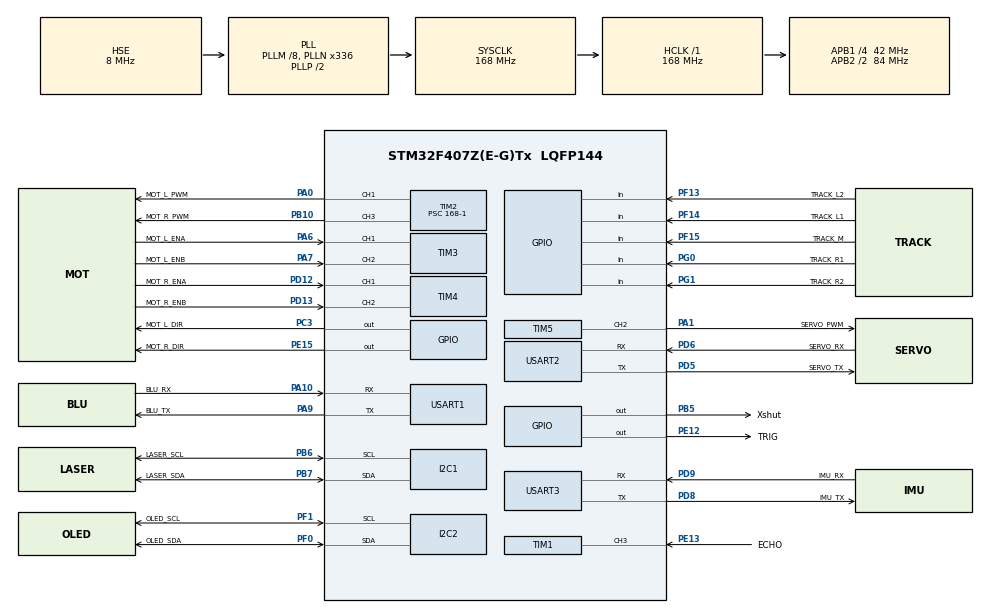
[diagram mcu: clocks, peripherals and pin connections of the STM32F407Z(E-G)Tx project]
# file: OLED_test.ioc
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FREERTOS.Tasks01=defaultTask,8,128,StartDefaultTask,Default,NULL,Dynamic,NULL,NULL;Servo_USART,40,256,ServoControlTask,As weak,NULL,Dynamic,NULL,NULL;Rx_Task,16,512,BT_Comm_Task,As weak,NULL,Dynamic,NULL,NULL;PTZ,24,512,PTZ_TASK,As weak,NULL,Dynamic,NULL,NULL;OLED,16,1024,MotorIMU_Monitor_Task,As weak,NULL,Dynamic,NULL,NULL
FREERTOS.configTOTAL_HEAP_SIZE=0x8000
I2C1.I2C_Mode=I2C_Fast
I2C2.I2C_Mode=I2C_Fast
Mcu.Family=STM32F4
Mcu.Name=STM32F407Z(E-G)Tx
Mcu.Package=LQFP144
NVIC.PriorityGroup=NVIC_PRIORITYGROUP_4
NVIC.TIM1_CC_IRQn=true\:5\:0\:false\:false\:true\:true\:true\:true\:true
NVIC.TIM7_IRQn=true\:15\:0\:false\:false\:true\:false\:false\:true\:true
NVIC.TimeBase=TIM7_IRQn
NVIC.TimeBaseIP=TIM7
NVIC.USART3_IRQn=true\:5\:0\:false\:false\:true\:true\:true\:true\:true
PA0-WKUP.GPIO_Label=MOT_L_PWM
PA0-WKUP.Signal=S_TIM2_CH1_ETR
PA1.GPIO_Label=SERVO_PWM
PA1.Signal=S_TIM5_CH2
PA10.GPIO_Label=BLU_RX
PA10.Mode=Asynchronous
PA10.Signal=USART1_RX
PA13.Mode=Serial_Wire
PA13.Signal=SYS_JTMS-SWDIO
PA14.Mode=Serial_Wire
PA14.Signal=SYS_JTCK-SWCLK
PA6.GPIO_Label=MOT_L_ENA
PA6.Signal=S_TIM3_CH1
PA7.GPIO_Label=MOT_L_ENB
PA7.Signal=S_TIM3_CH2
PA9.GPIO_Label=BLU_TX
PA9.Mode=Asynchronous
PA9.Signal=USART1_TX
PB10.GPIO_Label=MOT_R_PWM
PB10.Signal=S_TIM2_CH3
PB5.GPIO_Label=Xshut
PB5.Signal=GPIO_Output
PB6.GPIO_Label=LASER_SCL
PB6.Mode=I2C
PB6.Signal=I2C1_SCL
PB7.GPIO_Label=LASER_SDA
PB7.Mode=I2C
PB7.Signal=I2C1_SDA
PC3.GPIO_Label=MOT_L_DIR
PC3.Signal=GPIO_Output
PD12.GPIO_Label=MOT_R_ENA
PD12.Signal=S_TIM4_CH1
PD13.GPIO_Label=MOT_R_ENB
PD13.Signal=S_TIM4_CH2
PD5.GPIO_Label=SERVO_TX
PD5.Mode=Asynchronous
PD5.Signal=USART2_TX
PD6.GPIO_Label=SERVO_RX
PD6.Mode=Asynchronous
PD6.Signal=USART2_RX
PD8.GPIO_Label=IMU_TX
PD8.Mode=Asynchronous
PD8.Signal=USART3_TX
PD9.GPIO_Label=IMU_RX
PD9.Mode=Asynchronous
PD9.Signal=USART3_RX
PE12.GPIO_Label=TRIG
PE12.GPIO_Speed=GPIO_SPEED_FREQ_HIGH
PE12.Signal=GPIO_Output
PE13.GPIO_Label=ECHO
PE13.Signal=S_TIM1_CH3
PE15.GPIO_Label=MOT_R_DIR
PE15.Signal=GPIO_Output
PF0.GPIO_Label=OLED_SDA
PF0.Mode=I2C
PF0.Signal=I2C2_SDA
PF1.GPIO_Label=OLED_SCL
PF1.Mode=I2C
PF1.Signal=I2C2_SCL
PF13.GPIO_Label=TRACK_L2
PF13.Signal=GPIO_Input
PF14.GPIO_Label=TRACK_L1
PF14.Signal=GPIO_Input
PF15.GPIO_Label=TRACK_M
PF15.Signal=GPIO_Input
PG0.GPIO_Label=TRACK_R1
PG0.Signal=GPIO_Input
PG1.GPIO_Label=TRACK_R2
PG1.Signal=GPIO_Input
PH0-OSC_IN.Mode=HSE-External-Oscillator
PH0-OSC_IN.Signal=RCC_OSC_IN
PH1-OSC_OUT.Mode=HSE-External-Oscillator
PH1-OSC_OUT.Signal=RCC_OSC_OUT
ProjectManager.HeapSize=0x200
ProjectManager.StackSize=0x400
ProjectManager.TargetToolchain=MDK-ARM V5.32
RCC.48MHZClocksFreq_Value=84000000
RCC.AHBFreq_Value=168000000
RCC.APB1CLKDivider=RCC_HCLK_DIV4
RCC.APB1Freq_Value=42000000
RCC.APB1TimFreq_Value=84000000
RCC.APB2CLKDivider=RCC_HCLK_DIV2
RCC.APB2Freq_Value=84000000
RCC.APB2TimFreq_Value=168000000
RCC.CortexFreq_Value=168000000
RCC.HCLKFreq_Value=168000000
RCC.HSE_VALUE=8000000
RCC.HSI_VALUE=16000000
RCC.LSE_VALUE=32768
RCC.PLLM=8
RCC.PLLN=336
RCC.PLLSourceVirtual=RCC_PLLSOURCE_HSE
RCC.SYSCLKFreq_VALUE=168000000
RCC.SYSCLKSource=RCC_SYSCLKSOURCE_PLLCLK
RCC.VCOOutputFreq_Value=336000000
SH.S_TIM1_CH3.0=TIM1_CH3,Input_Capture3_from_TI3
SH.S_TIM2_CH1_ETR.0=TIM2_CH1,PWM Generation1 CH1
SH.S_TIM2_CH3.0=TIM2_CH3,PWM Generation3 CH3
SH.S_TIM3_CH1.0=TIM3_CH1,Encoder_Interface
SH.S_TIM3_CH2.0=TIM3_CH2,Encoder_Interface
SH.S_TIM4_CH1.0=TIM4_CH1,Encoder_Interface
SH.S_TIM4_CH2.0=TIM4_CH2,Encoder_Interface
SH.S_TIM5_CH2.0=TIM5_CH2,PWM Generation2 CH2
STMicroelectronics.X-CUBE-ALGOBUILD.1.3.0.LibraryCcDSPOoLibraryJjDSPOoLibrary=true
TIM1.Channel-Input_Capture3_from_TI3=TIM_CHANNEL_3
TIM1.Prescaler=168-1
TIM2.Channel-PWM\ Generation1\ CH1=TIM_CHANNEL_1
TIM2.Channel-PWM\ Generation3\ CH3=TIM_CHANNEL_3
TIM2.Period=50-1
TIM2.Prescaler=168-1
TIM3.EncoderMode=TIM_ENCODERMODE_TI12
TIM4.EncoderMode=TIM_ENCODERMODE_TI12
TIM5.Channel-PWM\ Generation2\ CH2=TIM_CHANNEL_2
TIM5.Period=20000-1
TIM5.Prescaler=84-1
USART1.VirtualMode=VM_ASYNC
USART2.VirtualMode=VM_ASYNC
USART3.VirtualMode=VM_ASYNC
VP_FREERTOS_VS_CMSIS_V2.Mode=CMSIS_V2
VP_STMicroelectronics.X-CUBE-ALGOBUILD_VS_DSPOoLibraryJjLibrary_1.3.0_1.3.0.Mode=DSPOoLibraryJjLibrary
VP_SYS_VS_tim7.Mode=TIM7
VP_TIM1_VS_ClockSourceINT.Mode=Internal
VP_TIM2_VS_ClockSourceINT.Mode=Internal
VP_TIM5_VS_ClockSourceINT.Mode=Internal
board=custom

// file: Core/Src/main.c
/* USER CODE BEGIN Header */
/**
  ******************************************************************************
  * @file           : main.c
  * @brief          : Main program body
  ******************************************************************************
  * @attention
  *
  * Copyright (c) 2025 STMicroelectronics.
  * All rights reserved.
  *
  * This software is licensed under terms that can be found in the LICENSE file
  * in the root directory of this software component.
  * If no LICENSE file comes with this software, it is provided AS-IS.
  *
  ******************************************************************************
  */
/* USER CODE END Header */
#include "main.h"
#include "cmsis_os.h"
#include "i2c.h"
#include "tim.h"
#include "usart.h"
#include "gpio.h"

/* USER CODE BEGIN Includes */
#include "oled.h"
#include "stdio.h"
#include "semphr.h"
#include "motor_iic.h"
#include "imu901.h"
#include "servo.h"
#include "bt_comm.h"
/* USER CODE END Includes */

/* USER CODE BEGIN PV */
	osMessageQueueId_t motorSpeedQueue;
/* USER CODE END PV */

void SystemClock_Config(void);
void MX_FREERTOS_Init(void);

int main(void)
{

  /* MCU Configuration--------------------------------------------------------*/

  /* Reset of all peripherals, Initializes the Flash interface and the Systick. */
  HAL_Init();

  /* Configure the system clock */
  SystemClock_Config();

  /* Initialize all configured peripherals */
  MX_GPIO_Init();
  MX_I2C1_Init();
  MX_I2C2_Init();
  MX_USART3_UART_Init();
  MX_TIM1_Init();
  MX_TIM5_Init();
  MX_USART2_UART_Init();
  MX_USART1_UART_Init();
  MX_TIM2_Init();
  MX_TIM3_Init();
  MX_TIM4_Init();
  /* USER CODE BEGIN 2 */
	HAL_TIM_IC_Start_IT(&htim1, TIM_CHANNEL_3);
	HAL_TIM_PWM_Start(&htim5, TIM_CHANNEL_2); // 启动PWM
	OLED_Init();
	imu901_light_init();     // 初始化协议状态机
	imu901_uart_start();     // 启动串口接收中断
  HAL_UART_Receive_IT(&huart3, &imu_rx_byte, 1); // 启动串口接收中断
	Servo_Init();
	IIC_Mutex_Init();  // <<<<<< �������һ�γ�ʼ��������
//	WaitForBT_ReadySignal();

  /* USER CODE END 2 */

  /* Init scheduler */
  osKernelInitialize();

  /* Call init function for freertos objects (in cmsis_os2.c) */
  MX_FREERTOS_Init();

  /* Start scheduler */
  osKernelStart();

  /* We should never get here as control is now taken by the scheduler */

  /* Infinite loop */
  while (1)
  {

  }
}

void SystemClock_Config(void)
{
  RCC_OscInitTypeDef RCC_OscInitStruct = {0};
  RCC_ClkInitTypeDef RCC_ClkInitStruct = {0};

  /** Configure the main internal regulator output voltage
  */
  __HAL_RCC_PWR_CLK_ENABLE();
  __HAL_PWR_VOLTAGESCALING_CONFIG(PWR_REGULATOR_VOLTAGE_SCALE1);

  /** Initializes the RCC Oscillators according to the specified parameters
  * in the RCC_OscInitTypeDef structure.
  */
  RCC_OscInitStruct.OscillatorType = RCC_OSCILLATORTYPE_HSE;
  RCC_OscInitStruct.HSEState = RCC_HSE_ON;
  RCC_OscInitStruct.PLL.PLLState = RCC_PLL_ON;
  RCC_OscInitStruct.PLL.PLLSource = RCC_PLLSOURCE_HSE;
  RCC_OscInitStruct.PLL.PLLM = 8;
  RCC_OscInitStruct.PLL.PLLN = 336;
  RCC_OscInitStruct.PLL.PLLP = RCC_PLLP_DIV2;
  RCC_OscInitStruct.PLL.PLLQ = 4;
  if (HAL_RCC_OscConfig(&RCC_OscInitStruct) != HAL_OK)
  {
    Error_Handler();
  }

  /** Initializes the CPU, AHB and APB buses clocks
  */
  RCC_ClkInitStruct.ClockType = RCC_CLOCKTYPE_HCLK|RCC_CLOCKTYPE_SYSCLK
                              |RCC_CLOCKTYPE_PCLK1|RCC_CLOCKTYPE_PCLK2;
  RCC_ClkInitStruct.SYSCLKSource = RCC_SYSCLKSOURCE_PLLCLK;
  RCC_ClkInitStruct.AHBCLKDivider = RCC_SYSCLK_DIV1;
  RCC_ClkInitStruct.APB1CLKDivider = RCC_HCLK_DIV4;
  RCC_ClkInitStruct.APB2CLKDivider = RCC_HCLK_DIV2;

  if (HAL_RCC_ClockConfig(&RCC_ClkInitStruct, FLASH_LATENCY_5) != HAL_OK)
  {
    Error_Handler();
  }
}

void HAL_TIM_PeriodElapsedCallback(TIM_HandleTypeDef *htim)
{
  if (htim->Instance == TIM7)
  {
    HAL_IncTick();
  }
}

void Error_Handler(void)
{
  __disable_irq();
  while (1)
  {
  }
}

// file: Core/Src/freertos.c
/* USER CODE BEGIN Header */
/**
  ******************************************************************************
  * File Name          : freertos.c
  * Description        : Code for freertos applications
  ******************************************************************************
  * @attention
  *
  * Copyright (c) 2025 STMicroelectronics.
  * All rights reserved.
  *
  * This software is licensed under terms that can be found in the LICENSE file
  * in the root directory of this software component.
  * If no LICENSE file comes with this software, it is provided AS-IS.
  *
  ******************************************************************************
  */
/* USER CODE END Header */

#include "FreeRTOS.h"
#include "task.h"
#include "main.h"
#include "cmsis_os.h"

/* Definitions for defaultTask */
osThreadId_t defaultTaskHandle;
const osThreadAttr_t defaultTask_attributes = {
  .name = "defaultTask",
  .stack_size = 128 * 4,
  .priority = (osPriority_t) osPriorityLow,
};
/* Definitions for Servo_USART */
osThreadId_t Servo_USARTHandle;
const osThreadAttr_t Servo_USART_attributes = {
  .name = "Servo_USART",
  .stack_size = 256 * 4,
  .priority = (osPriority_t) osPriorityHigh,
};
/* Definitions for Rx_Task */
osThreadId_t Rx_TaskHandle;
const osThreadAttr_t Rx_Task_attributes = {
  .name = "Rx_Task",
  .stack_size = 512 * 4,
  .priority = (osPriority_t) osPriorityBelowNormal,
};
/* Definitions for PTZ */
osThreadId_t PTZHandle;
const osThreadAttr_t PTZ_attributes = {
  .name = "PTZ",
  .stack_size = 512 * 4,
  .priority = (osPriority_t) osPriorityNormal,
};
/* Definitions for OLED */
osThreadId_t OLEDHandle;
const osThreadAttr_t OLED_attributes = {
  .name = "OLED",
  .stack_size = 1024 * 4,
  .priority = (osPriority_t) osPriorityBelowNormal,
};

void StartDefaultTask(void *argument);
void ServoControlTask(void *argument);
void BT_Comm_Task(void *argument);
void PTZ_TASK(void *argument);
void MotorIMU_Monitor_Task(void *argument);

void MX_FREERTOS_Init(void); /* (MISRA C 2004 rule 8.1) */

void MX_FREERTOS_Init(void) {

  /* Create the thread(s) */
  /* creation of defaultTask */
  defaultTaskHandle = osThreadNew(StartDefaultTask, NULL, &defaultTask_attributes);

  /* creation of Servo_USART */
  Servo_USARTHandle = osThreadNew(ServoControlTask, NULL, &Servo_USART_attributes);

  /* creation of Rx_Task */
  Rx_TaskHandle = osThreadNew(BT_Comm_Task, NULL, &Rx_Task_attributes);

  /* creation of PTZ */
  PTZHandle = osThreadNew(PTZ_TASK, NULL, &PTZ_attributes);

  /* creation of OLED */
  OLEDHandle = osThreadNew(MotorIMU_Monitor_Task, NULL, &OLED_attributes);

}

void StartDefaultTask(void *argument)
{
  for(;;)
  {
    osDelay(1);
  }
}

__weak void ServoControlTask(void *argument)
{
  for(;;)
  {
    osDelay(1);
  }
}

__weak void BT_Comm_Task(void *argument)
{
  for(;;)
  {
    osDelay(1);
  }
}

__weak void PTZ_TASK(void *argument)
{
  for(;;)
  {
    osDelay(1);
  }
}

__weak void MotorIMU_Monitor_Task(void *argument)
{
  for(;;)
  {
    osDelay(1);
  }
}
